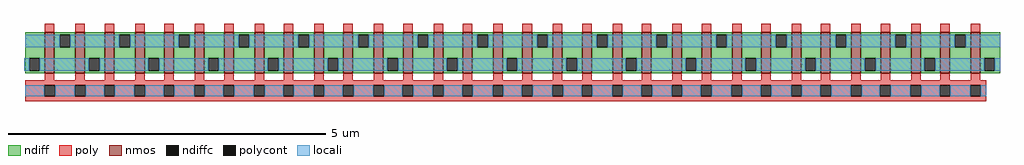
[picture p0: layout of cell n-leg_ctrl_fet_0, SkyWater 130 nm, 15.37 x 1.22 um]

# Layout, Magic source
magic
tech sky130A
magscale 1 2
<< nmos >>
rect -63 -65 -33 65
rect 33 -65 63 65
rect 125 -65 155 65
rect 221 -65 251 65
rect 313 -65 343 65
rect 409 -65 439 65
rect 501 -65 531 65
rect 597 -65 627 65
rect 689 -65 719 65
rect 785 -65 815 65
rect 877 -65 907 65
rect 973 -65 1003 65
rect 1065 -65 1095 65
rect 1161 -65 1191 65
rect 1253 -65 1283 65
rect 1349 -65 1379 65
rect 1441 -65 1471 65
rect 1537 -65 1567 65
rect 1629 -65 1659 65
rect 1725 -65 1755 65
rect 1817 -65 1847 65
rect 1913 -65 1943 65
rect 2005 -65 2035 65
rect 2101 -65 2131 65
rect 2193 -65 2223 65
rect 2289 -65 2319 65
rect 2381 -65 2411 65
rect 2477 -65 2507 65
rect 2569 -65 2599 65
rect 2665 -65 2695 65
rect 2757 -65 2787 65
rect 2853 -65 2883 65
<< ndiff >>
rect -125 -17 -63 65
rect -125 -57 -113 -17
rect -79 -57 -63 -17
rect -125 -65 -63 -57
rect -33 57 33 65
rect -33 17 -17 57
rect 17 17 33 57
rect -33 -65 33 17
rect 63 -17 125 65
rect 63 -57 75 -17
rect 109 -57 125 -17
rect 63 -65 125 -57
rect 155 57 221 65
rect 155 17 171 57
rect 205 17 221 57
rect 155 -65 221 17
rect 251 -17 313 65
rect 251 -57 263 -17
rect 297 -57 313 -17
rect 251 -65 313 -57
rect 343 57 409 65
rect 343 17 359 57
rect 393 17 409 57
rect 343 -65 409 17
rect 439 -17 501 65
rect 439 -57 451 -17
rect 485 -57 501 -17
rect 439 -65 501 -57
rect 531 57 597 65
rect 531 17 547 57
rect 581 17 597 57
rect 531 -65 597 17
rect 627 -17 689 65
rect 627 -57 639 -17
rect 673 -57 689 -17
rect 627 -65 689 -57
rect 719 57 785 65
rect 719 17 735 57
rect 769 17 785 57
rect 719 -65 785 17
rect 815 -17 877 65
rect 815 -57 827 -17
rect 861 -57 877 -17
rect 815 -65 877 -57
rect 907 57 973 65
rect 907 17 923 57
rect 957 17 973 57
rect 907 -65 973 17
rect 1003 -17 1065 65
rect 1003 -57 1015 -17
rect 1049 -57 1065 -17
rect 1003 -65 1065 -57
rect 1095 57 1161 65
rect 1095 17 1111 57
rect 1145 17 1161 57
rect 1095 -65 1161 17
rect 1191 -17 1253 65
rect 1191 -57 1203 -17
rect 1237 -57 1253 -17
rect 1191 -65 1253 -57
rect 1283 57 1349 65
rect 1283 17 1299 57
rect 1333 17 1349 57
rect 1283 -65 1349 17
rect 1379 -17 1441 65
rect 1379 -57 1391 -17
rect 1425 -57 1441 -17
rect 1379 -65 1441 -57
rect 1471 57 1537 65
rect 1471 17 1487 57
rect 1521 17 1537 57
rect 1471 -65 1537 17
rect 1567 -17 1629 65
rect 1567 -57 1579 -17
rect 1613 -57 1629 -17
rect 1567 -65 1629 -57
rect 1659 57 1725 65
rect 1659 17 1675 57
rect 1709 17 1725 57
rect 1659 -65 1725 17
rect 1755 -17 1817 65
rect 1755 -57 1767 -17
rect 1801 -57 1817 -17
rect 1755 -65 1817 -57
rect 1847 57 1913 65
rect 1847 17 1863 57
rect 1897 17 1913 57
rect 1847 -65 1913 17
rect 1943 -17 2005 65
rect 1943 -57 1955 -17
rect 1989 -57 2005 -17
rect 1943 -65 2005 -57
rect 2035 57 2101 65
rect 2035 17 2051 57
rect 2085 17 2101 57
rect 2035 -65 2101 17
rect 2131 -17 2193 65
rect 2131 -57 2143 -17
rect 2177 -57 2193 -17
rect 2131 -65 2193 -57
rect 2223 57 2289 65
rect 2223 17 2239 57
rect 2273 17 2289 57
rect 2223 -65 2289 17
rect 2319 -17 2381 65
rect 2319 -57 2331 -17
rect 2365 -57 2381 -17
rect 2319 -65 2381 -57
rect 2411 57 2477 65
rect 2411 17 2427 57
rect 2461 17 2477 57
rect 2411 -65 2477 17
rect 2507 -17 2569 65
rect 2507 -57 2519 -17
rect 2553 -57 2569 -17
rect 2507 -65 2569 -57
rect 2599 57 2665 65
rect 2599 17 2615 57
rect 2649 17 2665 57
rect 2599 -65 2665 17
rect 2695 -17 2757 65
rect 2695 -57 2707 -17
rect 2741 -57 2757 -17
rect 2695 -65 2757 -57
rect 2787 57 2853 65
rect 2787 17 2803 57
rect 2837 17 2853 57
rect 2787 -65 2853 17
rect 2883 -17 2945 65
rect 2883 -57 2895 -17
rect 2929 -57 2945 -17
rect 2883 -65 2945 -57
<< ndiffc >>
rect -113 -57 -79 -17
rect -17 17 17 57
rect 75 -57 109 -17
rect 171 17 205 57
rect 263 -57 297 -17
rect 359 17 393 57
rect 451 -57 485 -17
rect 547 17 581 57
rect 639 -57 673 -17
rect 735 17 769 57
rect 827 -57 861 -17
rect 923 17 957 57
rect 1015 -57 1049 -17
rect 1111 17 1145 57
rect 1203 -57 1237 -17
rect 1299 17 1333 57
rect 1391 -57 1425 -17
rect 1487 17 1521 57
rect 1579 -57 1613 -17
rect 1675 17 1709 57
rect 1767 -57 1801 -17
rect 1863 17 1897 57
rect 1955 -57 1989 -17
rect 2051 17 2085 57
rect 2143 -57 2177 -17
rect 2239 17 2273 57
rect 2331 -57 2365 -17
rect 2427 17 2461 57
rect 2519 -57 2553 -17
rect 2615 17 2649 57
rect 2707 -57 2741 -17
rect 2803 17 2837 57
rect 2895 -57 2929 -17
<< poly >>
rect -63 65 -33 91
rect 33 65 63 91
rect 125 65 155 91
rect 221 65 251 91
rect 313 65 343 91
rect 409 65 439 91
rect 501 65 531 91
rect 597 65 627 91
rect 689 65 719 91
rect 785 65 815 91
rect 877 65 907 91
rect 973 65 1003 91
rect 1065 65 1095 91
rect 1161 65 1191 91
rect 1253 65 1283 91
rect 1349 65 1379 91
rect 1441 65 1471 91
rect 1537 65 1567 91
rect 1629 65 1659 91
rect 1725 65 1755 91
rect 1817 65 1847 91
rect 1913 65 1943 91
rect 2005 65 2035 91
rect 2101 65 2131 91
rect 2193 65 2223 91
rect 2289 65 2319 91
rect 2381 65 2411 91
rect 2477 65 2507 91
rect 2569 65 2599 91
rect 2665 65 2695 91
rect 2757 65 2787 91
rect 2853 65 2883 91
rect -63 -87 -33 -65
rect 33 -87 63 -65
rect 125 -87 155 -65
rect 221 -87 251 -65
rect 313 -87 343 -65
rect 409 -87 439 -65
rect 501 -87 531 -65
rect 597 -87 627 -65
rect 689 -87 719 -65
rect 785 -87 815 -65
rect 877 -87 907 -65
rect 973 -87 1003 -65
rect 1065 -87 1095 -65
rect 1161 -87 1191 -65
rect 1253 -87 1283 -65
rect 1349 -87 1379 -65
rect 1441 -87 1471 -65
rect 1537 -87 1567 -65
rect 1629 -87 1659 -65
rect 1725 -87 1755 -65
rect 1817 -87 1847 -65
rect 1913 -87 1943 -65
rect 2005 -87 2035 -65
rect 2101 -87 2131 -65
rect 2193 -87 2223 -65
rect 2289 -87 2319 -65
rect 2381 -87 2411 -65
rect 2477 -87 2507 -65
rect 2569 -87 2599 -65
rect 2665 -87 2695 -65
rect 2757 -87 2787 -65
rect 2853 -87 2883 -65
rect -125 -103 2901 -87
rect -125 -137 -65 -103
rect -31 -137 31 -103
rect 65 -137 123 -103
rect 157 -137 219 -103
rect 253 -137 311 -103
rect 345 -137 407 -103
rect 441 -137 499 -103
rect 533 -137 595 -103
rect 629 -137 687 -103
rect 721 -137 783 -103
rect 817 -137 875 -103
rect 909 -137 971 -103
rect 1005 -137 1063 -103
rect 1097 -137 1159 -103
rect 1193 -137 1251 -103
rect 1285 -137 1347 -103
rect 1381 -137 1439 -103
rect 1473 -137 1535 -103
rect 1569 -137 1627 -103
rect 1661 -137 1723 -103
rect 1757 -137 1815 -103
rect 1849 -137 1911 -103
rect 1945 -137 2003 -103
rect 2037 -137 2099 -103
rect 2133 -137 2191 -103
rect 2225 -137 2287 -103
rect 2321 -137 2379 -103
rect 2413 -137 2475 -103
rect 2509 -137 2567 -103
rect 2601 -137 2663 -103
rect 2697 -137 2755 -103
rect 2789 -137 2851 -103
rect 2885 -137 2901 -103
rect -125 -153 2901 -137
<< polycont >>
rect -65 -137 -31 -103
rect 31 -137 65 -103
rect 123 -137 157 -103
rect 219 -137 253 -103
rect 311 -137 345 -103
rect 407 -137 441 -103
rect 499 -137 533 -103
rect 595 -137 629 -103
rect 687 -137 721 -103
rect 783 -137 817 -103
rect 875 -137 909 -103
rect 971 -137 1005 -103
rect 1063 -137 1097 -103
rect 1159 -137 1193 -103
rect 1251 -137 1285 -103
rect 1347 -137 1381 -103
rect 1439 -137 1473 -103
rect 1535 -137 1569 -103
rect 1627 -137 1661 -103
rect 1723 -137 1757 -103
rect 1815 -137 1849 -103
rect 1911 -137 1945 -103
rect 2003 -137 2037 -103
rect 2099 -137 2133 -103
rect 2191 -137 2225 -103
rect 2287 -137 2321 -103
rect 2379 -137 2413 -103
rect 2475 -137 2509 -103
rect 2567 -137 2601 -103
rect 2663 -137 2697 -103
rect 2755 -137 2789 -103
rect 2851 -137 2885 -103
<< locali >>
rect -125 17 -17 57
rect 17 17 171 57
rect 205 17 359 57
rect 393 17 547 57
rect 581 17 735 57
rect 769 17 923 57
rect 957 17 1111 57
rect 1145 17 1299 57
rect 1333 17 1487 57
rect 1521 17 1675 57
rect 1709 17 1863 57
rect 1897 17 2051 57
rect 2085 17 2239 57
rect 2273 17 2427 57
rect 2461 17 2615 57
rect 2649 17 2803 57
rect 2837 17 2945 57
rect -129 -57 -113 -17
rect -79 -57 75 -17
rect 109 -57 263 -17
rect 297 -57 451 -17
rect 485 -57 639 -17
rect 673 -57 827 -17
rect 861 -57 1015 -17
rect 1049 -57 1203 -17
rect 1237 -57 1391 -17
rect 1425 -57 1579 -17
rect 1613 -57 1767 -17
rect 1801 -57 1955 -17
rect 1989 -57 2143 -17
rect 2177 -57 2331 -17
rect 2365 -57 2519 -17
rect 2553 -57 2707 -17
rect 2741 -57 2895 -17
rect 2929 -57 2945 -17
rect -125 -137 -65 -103
rect -31 -137 31 -103
rect 65 -137 123 -103
rect 157 -137 219 -103
rect 253 -137 311 -103
rect 345 -137 407 -103
rect 441 -137 499 -103
rect 533 -137 595 -103
rect 629 -137 687 -103
rect 721 -137 783 -103
rect 817 -137 875 -103
rect 909 -137 971 -103
rect 1005 -137 1063 -103
rect 1097 -137 1159 -103
rect 1193 -137 1251 -103
rect 1285 -137 1347 -103
rect 1381 -137 1439 -103
rect 1473 -137 1535 -103
rect 1569 -137 1627 -103
rect 1661 -137 1723 -103
rect 1757 -137 1815 -103
rect 1849 -137 1911 -103
rect 1945 -137 2003 -103
rect 2037 -137 2099 -103
rect 2133 -137 2191 -103
rect 2225 -137 2287 -103
rect 2321 -137 2379 -103
rect 2413 -137 2475 -103
rect 2509 -137 2567 -103
rect 2601 -137 2663 -103
rect 2697 -137 2755 -103
rect 2789 -137 2851 -103
rect 2885 -137 2901 -103
<< properties >>
string gencell sky130_fd_pr__nfet_01v8
string library sky130
string parameters w 0.650 l 0.150 m 1 nf 2 diffcov 25 polycov 100 guard 0 glc 0 grc 0 gtc 0 gbc 0 tbcov 100 rlcov 100 topc 0 botc 0 poverlap 1 doverlap 1 lmin 0.15 wmin 0.42 compatible {sky130_fd_pr__nfet_01v8 sky130_fd_pr__nfet_01v8_lvt  sky130_fd_bs_flash__special_sonosfet_star  sky130_fd_pr__nfet_g5v0d10v5 sky130_fd_pr__nfet_05v0_nvt  sky130_fd_pr__nfet_03v3_nvt} full_metal 0 viasrc 0 viadrn 0 viagate 0 viagb 0 viagr 0 viagl 0 viagt 0
<< end >>
